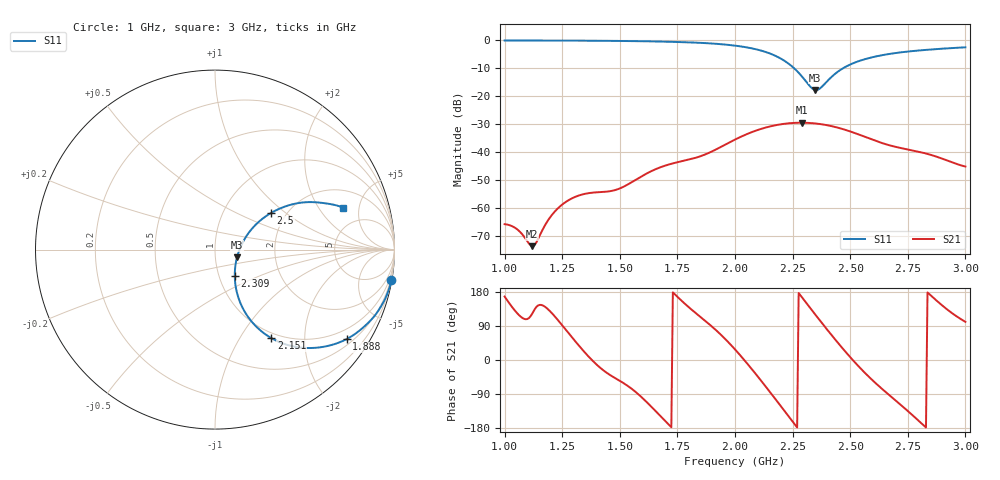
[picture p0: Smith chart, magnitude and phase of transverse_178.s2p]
! TOUCHSTONE file generated by CST MICROWAVE STUDIO
! Date and time: Tue Mar 11 13:57:23 2025
! Project name: transverse.cst
! Parameters = {Fracture=5; B=10; D=160; F=25; Feed=2.85625; L=100; M=30; R=0.384908; S=1; Theta=180; length=57.125; wave=114.25}
! Header version: 2024
! Port assignment regex: !\s*Touchstone port\s*([0-9]+)\s*=\s*(CST MWS port|CST DES external port|CST DES block port)\s*(.+)\s* \(\"(.*)\"\)(\s*mode\s*([0-9]+))?.*
! Touchstone port assignment:
! Touchstone port 1 = CST MWS port 1 ("")
! Touchstone port 2 = CST MWS port 2 ("")
# GHz S MA R 50
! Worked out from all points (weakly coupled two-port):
!   305 points, 1 GHz to 3 GHz, reference 50 ohm
!   highest |S21| = -29.40 dB at 2.289 GHz (marker M1); lowest = -73.5 dB at 1.118 GHz (marker M2)
!   lowest |S11| = -17.7 dB at 2.349 GHz (marker M3), VSWR 1.30, Z = 63.7 - j5.49 ohm
!   |S11| at or under -10 dB: 2.257 GHz to 2.468 GHz (210.8 MHz wide, 8.92 % of centre)
!   S12 and S22 are empty: the file has one direction only
!   S11 on the Smith chart (normalised r, x): 1 GHz: 0, -12; 1.888 GHz: 0.67, -3.12; 2.151 GHz: 0.92, -1.38; 2.309 GHz: 1.19, -0.36; 2.5 GHz: 1.67, +0.79; 3 GHz: 3.20, +3.44
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1  0.9975 -9.7  0.0005219 167.5  0 0.0  0 0.0
1.05263  0.9971 -10.5  0.0004279 124.7  0 0.0  0 0.0
1.11842  0.9962 -11.4  0.0002111 120.9  0 0.0  0 0.0
1.13158  0.9959 -11.6  0.0002251 134.8  0 0.0  0 0.0
1.18421  0.9945 -12.5  0.0005747 136.2  0 0.0  0 0.0
1.22368  0.9933 -13.1  0.0009317 110.9  0 0.0  0 0.0
1.27632  0.9915 -14.0  0.001389 71.9  0 0.0  0 0.0
1.33553  0.9893 -15.2  0.001762 28.7  0 0.0  0 0.0
1.48684  0.9788 -18.5  0.002165 -50.4  0 0.0  0 0.0
1.67105  0.9545 -24.1  0.005315 -144.6  0 0.0  0 0.0
1.88816  0.8865 -34.2  0.009861 94.4  0 0.0  0 0.0
2  0.8061 -42.3  0.01691 28.0  0 0.0  0 0.0
2.15132  0.584 -57.5  0.02902 -84.2  0 0.0  0 0.0
2.22368  0.408 -64.0  0.03275 -141.4  0 0.0  0 0.0
2.28947  0.2296 -60.2  0.03387 166.3  0 0.0  0 0.0
2.30921  0.1825 -52.8  0.03374 150.7  0 0.0  0 0.0
2.33553  0.1383 -33.2  0.03323 130.0  0 0.0  0 0.0
2.34868  0.13 -19.0  0.03284 119.7  0 0.0  0 0.0
2.5  0.3707 33.2  0.02365 7.5  0 0.0  0 0.0
2.67105  0.5741 27.4  0.01335 -93.4  0 0.0  0 0.0
2.83553  0.6803 22.1  0.009386 178.3  0 0.0  0 0.0
3  0.7522 18.1  0.005582 100.6  0 0.0  0 0.0
